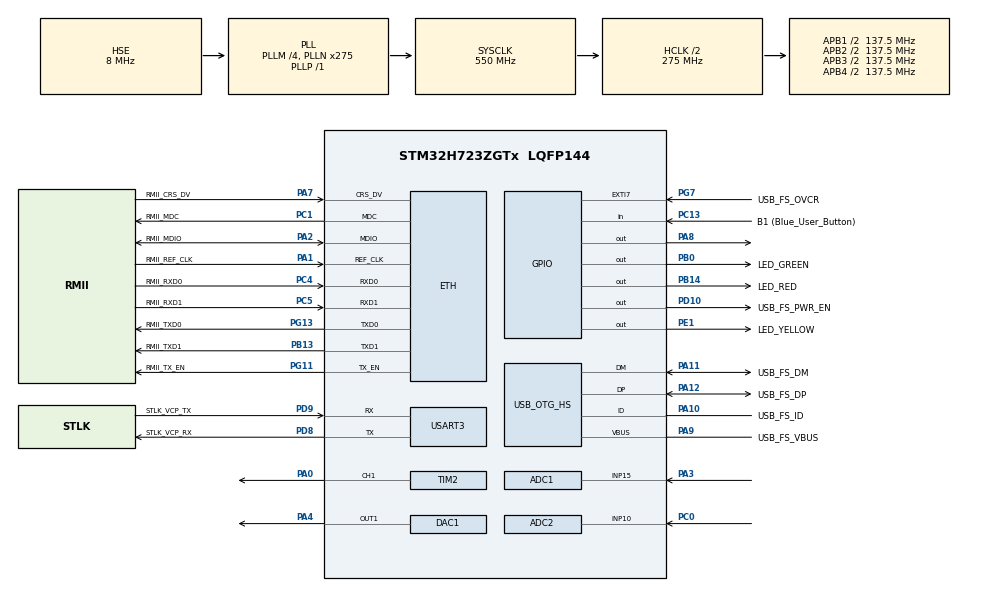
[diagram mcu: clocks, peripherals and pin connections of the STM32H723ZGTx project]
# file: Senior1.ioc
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ADC1.Channel-1\#ChannelRegularConversion=ADC_CHANNEL_15
ADC1.ContinuousConvMode=DISABLE
ADC1.NbrOfConversionFlag=1
ADC1.OffsetNumber-1\#ChannelRegularConversion=ADC_OFFSET_NONE
ADC1.OffsetSignedSaturation-1\#ChannelRegularConversion=DISABLE
ADC1.Rank-1\#ChannelRegularConversion=1
ADC1.SamplingTime-1\#ChannelRegularConversion=ADC_SAMPLETIME_1CYCLE_5
ADC1.master=1
ADC2.Channel-3\#ChannelRegularConversion=ADC_CHANNEL_10
ADC2.NbrOfConversionFlag=1
ADC2.OffsetNumber-3\#ChannelRegularConversion=ADC_OFFSET_NONE
ADC2.OffsetSignedSaturation-3\#ChannelRegularConversion=DISABLE
ADC2.Rank-3\#ChannelRegularConversion=1
ADC2.SamplingTime-3\#ChannelRegularConversion=ADC_SAMPLETIME_1CYCLE_5
DAC1.DAC_Channel-DAC_OUT1_ExtAndInt=DAC_CHANNEL_1
ETH.MediaInterface=HAL_ETH_RMII_MODE
Mcu.Family=STM32H7
Mcu.Name=STM32H723ZGTx
Mcu.Package=LQFP144
NVIC.PriorityGroup=NVIC_PRIORITYGROUP_4
PA0.Signal=S_TIM2_CH1_ETR
PA1.GPIO_Label=RMII_REF_CLK
PA1.Mode=RMII
PA1.Signal=ETH_REF_CLK
PA10.GPIO_Label=USB_FS_ID
PA10.Mode=OTG/Dual-Role-Device-FS
PA10.Signal=USB_OTG_HS_ID
PA11.GPIO_Label=USB_FS_DM
PA11.Mode=OTG/Dual-Role-Device-FS
PA11.Signal=USB_OTG_HS_DM
PA12.GPIO_Label=USB_FS_DP
PA12.Mode=OTG/Dual-Role-Device-FS
PA12.Signal=USB_OTG_HS_DP
PA13(JTMS/SWDIO).GPIO_Label=SWDIO
PA13(JTMS/SWDIO).Mode=Trace_Asynchronous_SW
PA13(JTMS/SWDIO).Signal=DEBUG_JTMS-SWDIO
PA14(JTCK/SWCLK).GPIO_Label=SWCLK
PA14(JTCK/SWCLK).Mode=Trace_Asynchronous_SW
PA14(JTCK/SWCLK).Signal=DEBUG_JTCK-SWCLK
PA2.GPIO_Label=RMII_MDIO
PA2.Mode=RMII
PA2.Signal=ETH_MDIO
PA3.Signal=ADCx_INP15
PA4.Signal=COMP_DAC11_group
PA7.GPIO_Label=RMII_CRS_DV
PA7.Mode=RMII
PA7.Signal=ETH_CRS_DV
PA8.Signal=GPIO_Output
PA9.GPIO_Label=USB_FS_VBUS
PA9.Mode=Activate_VBUS_FS
PA9.Signal=USB_OTG_HS_VBUS
PB0.GPIO_Label=LED_GREEN
PB0.Signal=GPIO_Output
PB13.GPIO_Label=RMII_TXD1
PB13.Mode=RMII
PB13.Signal=ETH_TXD1
PB14.GPIO_Label=LED_RED
PB14.Signal=GPIO_Output
PB3(JTDO/TRACESWO).GPIO_Label=SWO
PB3(JTDO/TRACESWO).Mode=Trace_Asynchronous_SW
PB3(JTDO/TRACESWO).Signal=DEBUG_JTDO-SWO
PC0.Signal=ADCx_INP10
PC1.GPIO_Label=RMII_MDC
PC1.Mode=RMII
PC1.Signal=ETH_MDC
PC13.GPIO_Label=B1 (Blue_User_Button)
PC13.Signal=GPIO_Input
PC14-OSC32_IN.Mode=LSE-External-Oscillator
PC14-OSC32_IN.Signal=RCC_OSC32_IN
PC15-OSC32_OUT.Mode=LSE-External-Oscillator
PC15-OSC32_OUT.Signal=RCC_OSC32_OUT
PC4.GPIO_Label=RMII_RXD0
PC4.Mode=RMII
PC4.Signal=ETH_RXD0
PC5.GPIO_Label=RMII_RXD1
PC5.Mode=RMII
PC5.Signal=ETH_RXD1
PD10.GPIO_Label=USB_FS_PWR_EN
PD10.Signal=GPIO_Output
PD8.GPIO_Label=STLK_VCP_RX
PD8.Mode=Asynchronous
PD8.Signal=USART3_TX
PD9.GPIO_Label=STLK_VCP_TX
PD9.Mode=Asynchronous
PD9.Signal=USART3_RX
PE1.GPIO_Label=LED_YELLOW
PE1.Signal=GPIO_Output
PG11.GPIO_Label=RMII_TX_EN
PG11.Mode=RMII
PG11.Signal=ETH_TX_EN
PG13.GPIO_Label=RMII_TXD0
PG13.Mode=RMII
PG13.Signal=ETH_TXD0
PG7.GPIO_Label=USB_FS_OVCR
PG7.Signal=GPXTI7
PH0-OSC_IN.GPIO_Label=MCO
PH0-OSC_IN.Mode=HSE-External-Clock-Source
PH0-OSC_IN.Signal=RCC_OSC_IN
PH1-OSC_OUT.Signal=RCC_OSC_OUT
ProjectManager.HeapSize=0x200
ProjectManager.StackSize=0x400
ProjectManager.TargetToolchain=STM32CubeIDE
RCC.ADCFreq_Value=96000000
RCC.APB1Freq_Value=137500000
RCC.APB2Freq_Value=137500000
RCC.APB3Freq_Value=137500000
RCC.APB4Freq_Value=137500000
RCC.CortexFreq_Value=550000000
RCC.D1PPRE=RCC_APB3_DIV2
RCC.D2PPRE1=RCC_APB1_DIV2
RCC.D2PPRE2=RCC_APB2_DIV2
RCC.D3PPRE=RCC_APB4_DIV2
RCC.DIVM1=4
RCC.DIVM2=1
RCC.DIVN1=275
RCC.DIVN2=24
RCC.DIVP1=1
RCC.DIVQ1=4
RCC.HCLKFreq_Value=275000000
RCC.HPRE=RCC_HCLK_DIV2
RCC.HSE_VALUE=8000000
RCC.PLL1_VCI_Range-AdvancedSettings=RCC_PLL1VCIRANGE_1
RCC.PLL3_VCO_SEL-AdvancedSettings=RCC_PLL3VCOMEDIUM
RCC.PLLFRACN=0
RCC.PLLSourceVirtual=RCC_PLLSOURCE_HSE
RCC.SYSCLKFreq_VALUE=550000000
RCC.SYSCLKSource=RCC_SYSCLKSOURCE_PLLCLK
RCC.USBCLockSelection=RCC_USBCLKSOURCE_HSI48
RCC.USBFreq_Value=48000000
SH.ADCx_INP10.0=ADC2_INP10,IN10-Single-Ended
SH.ADCx_INP15.0=ADC1_INP15,IN15-Single-Ended
SH.COMP_DAC11_group.0=DAC1_OUT1,DAC_OUT1_ExtAndInt
SH.S_TIM2_CH1_ETR.0=TIM2_CH1,PWM Generation1 CH1
TIM2.AutoReloadPreload=TIM_AUTORELOAD_PRELOAD_ENABLE
TIM2.Channel-PWM\ Generation1\ CH1=TIM_CHANNEL_1
TIM2.Period=65535
USART3.VirtualMode-Asynchronous=VM_ASYNC
VP_TIM2_VS_ClockSourceINT.Mode=Internal
board=NUCLEO-H723ZG

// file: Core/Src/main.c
/* USER CODE BEGIN Header */
/**
  ******************************************************************************
  * @file           : main.c
  * @brief          : Main program body
  ******************************************************************************
  * @attention
  *
  * <h2><center>&copy; Copyright (c) 2019 STMicroelectronics.
  * All rights reserved.</center></h2>
  *
  * This software component is licensed by ST under BSD 3-Clause license,
  * the "License"; You may not use this file except in compliance with the
  * License. You may obtain a copy of the License at:
  *                        opensource.org/licenses/BSD-3-Clause
  *
  * Code from https://deepbluembedded.com/stm32-adc-read-example-dma-interrupt-polling/
  *
  ******************************************************************************
  */
/* USER CODE END Header */
#include "main.h"
#include "string.h"

/* USER CODE BEGIN Includes */
#include <string.h>
#include <stdio.h>
/* USER CODE END Includes */

#if defined ( __ICCARM__ ) /*!< IAR Compiler */

#pragma location=0x30000000
ETH_DMADescTypeDef  DMARxDscrTab[ETH_RX_DESC_CNT]; /* Ethernet Rx DMA Descriptors */
#pragma location=0x30000060
ETH_DMADescTypeDef  DMATxDscrTab[ETH_TX_DESC_CNT]; /* Ethernet Tx DMA Descriptors */
#pragma location=0x300000c0
uint8_t Rx_Buff[ETH_RX_DESC_CNT][ETH_MAX_PACKET_SIZE]; /* Ethernet Receive Buffers */

#elif defined ( __CC_ARM )  /* MDK ARM Compiler */

__attribute__((at(0x30000000))) ETH_DMADescTypeDef  DMARxDscrTab[ETH_RX_DESC_CNT]; /* Ethernet Rx DMA Descriptors */
__attribute__((at(0x30000060))) ETH_DMADescTypeDef  DMATxDscrTab[ETH_TX_DESC_CNT]; /* Ethernet Tx DMA Descriptors */
__attribute__((at(0x300000c0))) uint8_t Rx_Buff[ETH_RX_DESC_CNT][ETH_MAX_PACKET_SIZE]; /* Ethernet Receive Buffer */

#elif defined ( __GNUC__ ) /* GNU Compiler */

ETH_DMADescTypeDef DMARxDscrTab[ETH_RX_DESC_CNT] __attribute__((section(".RxDecripSection"))); /* Ethernet Rx DMA Descriptors */
ETH_DMADescTypeDef DMATxDscrTab[ETH_TX_DESC_CNT] __attribute__((section(".TxDecripSection")));   /* Ethernet Tx DMA Descriptors */
uint8_t Rx_Buff[ETH_RX_DESC_CNT][ETH_MAX_PACKET_SIZE] __attribute__((section(".RxArraySection"))); /* Ethernet Receive Buffers */

#endif

ETH_TxPacketConfig TxConfig;
ADC_HandleTypeDef hadc1;
ADC_HandleTypeDef hadc2;

DAC_HandleTypeDef hdac1;

ETH_HandleTypeDef heth;

TIM_HandleTypeDef htim2;

UART_HandleTypeDef huart3;

/* USER CODE BEGIN PV */
uint16_t AD_RES = 0;

/* USER CODE END PV */

void SystemClock_Config(void);
void PeriphCommonClock_Config(void);
static void MX_GPIO_Init(void);
static void MX_ETH_Init(void);
static void MX_USART3_UART_Init(void);
static void MX_USB_OTG_HS_USB_Init(void);
static void MX_ADC1_Init(void);
static void MX_TIM2_Init(void);
static void MX_DAC1_Init(void);
static void MX_ADC2_Init(void);

int main(void)
{
  /* USER CODE BEGIN 1 */
   char msg[10];
   uint32_t val_dac = 500;
   uint16_t adc_val = 0;
   uint16_t adc2_val = 0;
   double volt;
   double volt2;
  /* USER CODE END 1 */

  /* MCU Configuration--------------------------------------------------------*/

  /* Reset of all peripherals, Initializes the Flash interface and the Systick. */
  HAL_Init();

  /* Configure the system clock */
  SystemClock_Config();

/* Configure the peripherals common clocks */
  PeriphCommonClock_Config();

  /* Initialize all configured peripherals */
  MX_GPIO_Init();
  MX_ETH_Init();
  MX_USART3_UART_Init();
  MX_USB_OTG_HS_USB_Init();
  MX_ADC1_Init();
  MX_TIM2_Init();
  MX_DAC1_Init();
  MX_ADC2_Init();
  /* USER CODE BEGIN 2 */
  HAL_TIM_PWM_Start(&htim2, TIM_CHANNEL_1);

  //Start DAC
 // HAL_DAC_Start(&hdac1,DAC_CHANNEL_1);
 // HAL_DAC_SetValue(&hdac1, DAC_CHANNEL_1, DAC_ALIGN_12B_R, val_dac);
  HAL_ADC_Start_DMA(&hadc1,(uint32_t*)&adc_val, 10);

  /* USER CODE END 2 */

  /* Infinite loop */
  /* USER CODE BEGIN WHILE */
  while (1)
  {
	  /*
	  // Set DAC Value to increment
	  HAL_DAC_SetValue(&hdac1, DAC_CHANNEL_1, DAC_ALIGN_12B_R, val_dac);
	  	  val_dac++;
	  	  if(val_dac>4095)
	  	  {
	  		  val_dac=0;
	  	  }
	  	  HAL_Delay(10);
*/
    // Test: Set GPIO pin high
    HAL_GPIO_WritePin(GPIOA, GPIO_PIN_8, GPIO_PIN_SET);

    // Get ADC values
    HAL_ADC_Start(&hadc1);
   // HAL_ADC_Start(&hadc2);
    HAL_ADC_PollForConversion(&hadc1,100);
   // HAL_ADC_PollForConversion(&hadc2,100);
    adc_val = HAL_ADC_GetValue(&hadc1);
   // adc2_val = HAL_ADC_GetValue(&hadc2);
    TIM2->CCR1 = (adc_val<<4);
  //  TIM2->CCR2 = (adc2_val<<4);
    HAL_Delay(100);

    // Convert to voltage (double)
    volt = ((double)adc_val/65535)*3.3;
   // volt2 = ((double)adc2_val/65535)*3.3;

    // Test: Set GPIO pin low
    HAL_GPIO_WritePin(GPIOA, GPIO_PIN_8, GPIO_PIN_RESET);

    // Convert to string and print
    //sprintf(msg, "ADC1: %0.4f\r\n ADC2: %0.4f\r\n\n ", volt, volt2);
    sprintf(msg, "ADC1: %0.4f\r\n", volt);

    HAL_UART_Transmit(&huart3, (uint8_t*)msg, strlen(msg), HAL_MAX_DELAY);

    // Pretend we have to do something else for a while
    HAL_Delay(1);

    /* USER CODE END WHILE */

  }
}

void SystemClock_Config(void)
{
  RCC_OscInitTypeDef RCC_OscInitStruct = {0};
  RCC_ClkInitTypeDef RCC_ClkInitStruct = {0};

  /** Supply configuration update enable
  */
  HAL_PWREx_ConfigSupply(PWR_LDO_SUPPLY);
  /** Configure the main internal regulator output voltage
  */
  __HAL_PWR_VOLTAGESCALING_CONFIG(PWR_REGULATOR_VOLTAGE_SCALE0);

  while(!__HAL_PWR_GET_FLAG(PWR_FLAG_VOSRDY)) {}
  /** Macro to configure the PLL clock source
  */
  __HAL_RCC_PLL_PLLSOURCE_CONFIG(RCC_PLLSOURCE_HSE);
  /** Initializes the RCC Oscillators according to the specified parameters
  * in the RCC_OscInitTypeDef structure.
  */
  RCC_OscInitStruct.OscillatorType = RCC_OSCILLATORTYPE_HSI48|RCC_OSCILLATORTYPE_HSE;
  RCC_OscInitStruct.HSEState = RCC_HSE_BYPASS;
  RCC_OscInitStruct.HSI48State = RCC_HSI48_ON;
  RCC_OscInitStruct.PLL.PLLState = RCC_PLL_ON;
  RCC_OscInitStruct.PLL.PLLSource = RCC_PLLSOURCE_HSE;
  RCC_OscInitStruct.PLL.PLLM = 4;
  RCC_OscInitStruct.PLL.PLLN = 275;
  RCC_OscInitStruct.PLL.PLLP = 1;
  RCC_OscInitStruct.PLL.PLLQ = 4;
  RCC_OscInitStruct.PLL.PLLR = 2;
  RCC_OscInitStruct.PLL.PLLRGE = RCC_PLL1VCIRANGE_1;
  RCC_OscInitStruct.PLL.PLLVCOSEL = RCC_PLL1VCOWIDE;
  RCC_OscInitStruct.PLL.PLLFRACN = 0;
  if (HAL_RCC_OscConfig(&RCC_OscInitStruct) != HAL_OK)
  {
    Error_Handler();
  }
  /** Initializes the CPU, AHB and APB buses clocks
  */
  RCC_ClkInitStruct.ClockType = RCC_CLOCKTYPE_HCLK|RCC_CLOCKTYPE_SYSCLK
                              |RCC_CLOCKTYPE_PCLK1|RCC_CLOCKTYPE_PCLK2
                              |RCC_CLOCKTYPE_D3PCLK1|RCC_CLOCKTYPE_D1PCLK1;
  RCC_ClkInitStruct.SYSCLKSource = RCC_SYSCLKSOURCE_PLLCLK;
  RCC_ClkInitStruct.SYSCLKDivider = RCC_SYSCLK_DIV1;
  RCC_ClkInitStruct.AHBCLKDivider = RCC_HCLK_DIV2;
  RCC_ClkInitStruct.APB3CLKDivider = RCC_APB3_DIV2;
  RCC_ClkInitStruct.APB1CLKDivider = RCC_APB1_DIV2;
  RCC_ClkInitStruct.APB2CLKDivider = RCC_APB2_DIV2;
  RCC_ClkInitStruct.APB4CLKDivider = RCC_APB4_DIV2;

  if (HAL_RCC_ClockConfig(&RCC_ClkInitStruct, FLASH_LATENCY_3) != HAL_OK)
  {
    Error_Handler();
  }
}

void PeriphCommonClock_Config(void)
{
  RCC_PeriphCLKInitTypeDef PeriphClkInitStruct = {0};

  /** Initializes the peripherals clock
  */
  PeriphClkInitStruct.PeriphClockSelection = RCC_PERIPHCLK_ADC;
  PeriphClkInitStruct.PLL2.PLL2M = 1;
  PeriphClkInitStruct.PLL2.PLL2N = 24;
  PeriphClkInitStruct.PLL2.PLL2P = 2;
  PeriphClkInitStruct.PLL2.PLL2Q = 2;
  PeriphClkInitStruct.PLL2.PLL2R = 2;
  PeriphClkInitStruct.PLL2.PLL2RGE = RCC_PLL2VCIRANGE_3;
  PeriphClkInitStruct.PLL2.PLL2VCOSEL = RCC_PLL2VCOWIDE;
  PeriphClkInitStruct.PLL2.PLL2FRACN = 0;
  PeriphClkInitStruct.AdcClockSelection = RCC_ADCCLKSOURCE_PLL2;
  if (HAL_RCCEx_PeriphCLKConfig(&PeriphClkInitStruct) != HAL_OK)
  {
    Error_Handler();
  }
}

static void MX_ADC1_Init(void)
{

  ADC_MultiModeTypeDef multimode = {0};
  ADC_ChannelConfTypeDef sConfig = {0};

  /** Common config
  */
  hadc1.Instance = ADC1;
  hadc1.Init.ClockPrescaler = ADC_CLOCK_ASYNC_DIV1;
  hadc1.Init.Resolution = ADC_RESOLUTION_16B;
  hadc1.Init.ScanConvMode = ADC_SCAN_DISABLE;
  hadc1.Init.EOCSelection = ADC_EOC_SINGLE_CONV;
  hadc1.Init.LowPowerAutoWait = DISABLE;
  hadc1.Init.ContinuousConvMode = DISABLE;
  hadc1.Init.NbrOfConversion = 1;
  hadc1.Init.DiscontinuousConvMode = DISABLE;
  hadc1.Init.ExternalTrigConv = ADC_SOFTWARE_START;
  hadc1.Init.ExternalTrigConvEdge = ADC_EXTERNALTRIGCONVEDGE_NONE;
  hadc1.Init.ConversionDataManagement = ADC_CONVERSIONDATA_DR;
  hadc1.Init.Overrun = ADC_OVR_DATA_PRESERVED;
  hadc1.Init.LeftBitShift = ADC_LEFTBITSHIFT_NONE;
  hadc1.Init.OversamplingMode = DISABLE;
  if (HAL_ADC_Init(&hadc1) != HAL_OK)
  {
    Error_Handler();
  }
  /** Configure the ADC multi-mode
  */
  multimode.Mode = ADC_MODE_INDEPENDENT;
  if (HAL_ADCEx_MultiModeConfigChannel(&hadc1, &multimode) != HAL_OK)
  {
    Error_Handler();
  }
  /** Configure Regular Channel
  */
  sConfig.Channel = ADC_CHANNEL_15;
  sConfig.Rank = ADC_REGULAR_RANK_1;
  sConfig.SamplingTime = ADC_SAMPLETIME_1CYCLE_5;
  sConfig.SingleDiff = ADC_SINGLE_ENDED;
  sConfig.OffsetNumber = ADC_OFFSET_NONE;
  sConfig.Offset = 0;
  sConfig.OffsetSignedSaturation = DISABLE;
  if (HAL_ADC_ConfigChannel(&hadc1, &sConfig) != HAL_OK)
  {
    Error_Handler();
  }

}

static void MX_ADC2_Init(void)
{

  ADC_ChannelConfTypeDef sConfig = {0};

  /** Common config
  */
  hadc2.Instance = ADC2;
  hadc2.Init.ClockPrescaler = ADC_CLOCK_ASYNC_DIV1;
  hadc2.Init.Resolution = ADC_RESOLUTION_16B;
  hadc2.Init.ScanConvMode = ADC_SCAN_DISABLE;
  hadc2.Init.EOCSelection = ADC_EOC_SINGLE_CONV;
  hadc2.Init.LowPowerAutoWait = DISABLE;
  hadc2.Init.ContinuousConvMode = DISABLE;
  hadc2.Init.NbrOfConversion = 1;
  hadc2.Init.DiscontinuousConvMode = DISABLE;
  hadc2.Init.ExternalTrigConv = ADC_SOFTWARE_START;
  hadc2.Init.ExternalTrigConvEdge = ADC_EXTERNALTRIGCONVEDGE_NONE;
  hadc2.Init.ConversionDataManagement = ADC_CONVERSIONDATA_DR;
  hadc2.Init.Overrun = ADC_OVR_DATA_PRESERVED;
  hadc2.Init.LeftBitShift = ADC_LEFTBITSHIFT_NONE;
  hadc2.Init.OversamplingMode = DISABLE;
  if (HAL_ADC_Init(&hadc2) != HAL_OK)
  {
    Error_Handler();
  }
  /** Configure Regular Channel
  */
  sConfig.Channel = ADC_CHANNEL_10;
  sConfig.Rank = ADC_REGULAR_RANK_1;
  sConfig.SamplingTime = ADC_SAMPLETIME_1CYCLE_5;
  sConfig.SingleDiff = ADC_SINGLE_ENDED;
  sConfig.OffsetNumber = ADC_OFFSET_NONE;
  sConfig.Offset = 0;
  sConfig.OffsetSignedSaturation = DISABLE;
  if (HAL_ADC_ConfigChannel(&hadc2, &sConfig) != HAL_OK)
  {
    Error_Handler();
  }

}

static void MX_DAC1_Init(void)
{

  DAC_ChannelConfTypeDef sConfig = {0};

  /** DAC Initialization
  */
  hdac1.Instance = DAC1;
  if (HAL_DAC_Init(&hdac1) != HAL_OK)
  {
    Error_Handler();
  }
  /** DAC channel OUT1 config
  */
  sConfig.DAC_SampleAndHold = DAC_SAMPLEANDHOLD_DISABLE;
  sConfig.DAC_Trigger = DAC_TRIGGER_NONE;
  sConfig.DAC_OutputBuffer = DAC_OUTPUTBUFFER_ENABLE;
  sConfig.DAC_ConnectOnChipPeripheral = DAC_CHIPCONNECT_ENABLE;
  sConfig.DAC_UserTrimming = DAC_TRIMMING_FACTORY;
  if (HAL_DAC_ConfigChannel(&hdac1, &sConfig, DAC_CHANNEL_1) != HAL_OK)
  {
    Error_Handler();
  }

}

static void MX_ETH_Init(void)
{

   static uint8_t MACAddr[6];

  heth.Instance = ETH;
  MACAddr[0] = 0x00;
  MACAddr[1] = 0x80;
  MACAddr[2] = 0xE1;
  MACAddr[3] = 0x00;
  MACAddr[4] = 0x00;
  MACAddr[5] = 0x00;
  heth.Init.MACAddr = &MACAddr[0];
  heth.Init.MediaInterface = HAL_ETH_RMII_MODE;
  heth.Init.TxDesc = DMATxDscrTab;
  heth.Init.RxDesc = DMARxDscrTab;
  heth.Init.RxBuffLen = 1524;

  if (HAL_ETH_Init(&heth) != HAL_OK)
  {
    Error_Handler();
  }

  memset(&TxConfig, 0 , sizeof(ETH_TxPacketConfig));
  TxConfig.Attributes = ETH_TX_PACKETS_FEATURES_CSUM | ETH_TX_PACKETS_FEATURES_CRCPAD;
  TxConfig.ChecksumCtrl = ETH_CHECKSUM_IPHDR_PAYLOAD_INSERT_PHDR_CALC;
  TxConfig.CRCPadCtrl = ETH_CRC_PAD_INSERT;

}

static void MX_TIM2_Init(void)
{

  TIM_ClockConfigTypeDef sClockSourceConfig = {0};
  TIM_MasterConfigTypeDef sMasterConfig = {0};
  TIM_OC_InitTypeDef sConfigOC = {0};

  htim2.Instance = TIM2;
  htim2.Init.Prescaler = 0;
  htim2.Init.CounterMode = TIM_COUNTERMODE_UP;
  htim2.Init.Period = 65535;
  htim2.Init.ClockDivision = TIM_CLOCKDIVISION_DIV1;
  htim2.Init.AutoReloadPreload = TIM_AUTORELOAD_PRELOAD_ENABLE;
  if (HAL_TIM_Base_Init(&htim2) != HAL_OK)
  {
    Error_Handler();
  }
  sClockSourceConfig.ClockSource = TIM_CLOCKSOURCE_INTERNAL;
  if (HAL_TIM_ConfigClockSource(&htim2, &sClockSourceConfig) != HAL_OK)
  {
    Error_Handler();
  }
  if (HAL_TIM_PWM_Init(&htim2) != HAL_OK)
  {
    Error_Handler();
  }
  sMasterConfig.MasterOutputTrigger = TIM_TRGO_RESET;
  sMasterConfig.MasterSlaveMode = TIM_MASTERSLAVEMODE_DISABLE;
  if (HAL_TIMEx_MasterConfigSynchronization(&htim2, &sMasterConfig) != HAL_OK)
  {
    Error_Handler();
  }
  sConfigOC.OCMode = TIM_OCMODE_PWM1;
  sConfigOC.Pulse = 0;
  sConfigOC.OCPolarity = TIM_OCPOLARITY_HIGH;
  sConfigOC.OCFastMode = TIM_OCFAST_DISABLE;
  if (HAL_TIM_PWM_ConfigChannel(&htim2, &sConfigOC, TIM_CHANNEL_1) != HAL_OK)
  {
    Error_Handler();
  }
  HAL_TIM_MspPostInit(&htim2);

}

static void MX_USART3_UART_Init(void)
{

  huart3.Instance = USART3;
  huart3.Init.BaudRate = 115200;
  huart3.Init.WordLength = UART_WORDLENGTH_8B;
  huart3.Init.StopBits = UART_STOPBITS_1;
  huart3.Init.Parity = UART_PARITY_NONE;
  huart3.Init.Mode = UART_MODE_TX_RX;
  huart3.Init.HwFlowCtl = UART_HWCONTROL_NONE;
  huart3.Init.OverSampling = UART_OVERSAMPLING_16;
  huart3.Init.OneBitSampling = UART_ONE_BIT_SAMPLE_DISABLE;
  huart3.Init.ClockPrescaler = UART_PRESCALER_DIV1;
  huart3.AdvancedInit.AdvFeatureInit = UART_ADVFEATURE_NO_INIT;
  if (HAL_UART_Init(&huart3) != HAL_OK)
  {
    Error_Handler();
  }
  if (HAL_UARTEx_SetTxFifoThreshold(&huart3, UART_TXFIFO_THRESHOLD_1_8) != HAL_OK)
  {
    Error_Handler();
  }
  if (HAL_UARTEx_SetRxFifoThreshold(&huart3, UART_RXFIFO_THRESHOLD_1_8) != HAL_OK)
  {
    Error_Handler();
  }
  if (HAL_UARTEx_DisableFifoMode(&huart3) != HAL_OK)
  {
    Error_Handler();
  }

}

static void MX_USB_OTG_HS_USB_Init(void)
{

}

static void MX_GPIO_Init(void)
{
  GPIO_InitTypeDef GPIO_InitStruct = {0};

  /* GPIO Ports Clock Enable */
  __HAL_RCC_GPIOC_CLK_ENABLE();
  __HAL_RCC_GPIOH_CLK_ENABLE();
  __HAL_RCC_GPIOA_CLK_ENABLE();
  __HAL_RCC_GPIOB_CLK_ENABLE();
  __HAL_RCC_GPIOD_CLK_ENABLE();
  __HAL_RCC_GPIOG_CLK_ENABLE();
  __HAL_RCC_GPIOE_CLK_ENABLE();

  /*Configure GPIO pin Output Level */
  HAL_GPIO_WritePin(GPIOB, LED_GREEN_Pin|LED_RED_Pin, GPIO_PIN_RESET);

  /*Configure GPIO pin Output Level */
  HAL_GPIO_WritePin(USB_FS_PWR_EN_GPIO_Port, USB_FS_PWR_EN_Pin, GPIO_PIN_RESET);

  /*Configure GPIO pin Output Level */
  HAL_GPIO_WritePin(GPIOA, GPIO_PIN_8, GPIO_PIN_RESET);

  /*Configure GPIO pin Output Level */
  HAL_GPIO_WritePin(LED_YELLOW_GPIO_Port, LED_YELLOW_Pin, GPIO_PIN_RESET);

  /*Configure GPIO pin : B1_Pin */
  GPIO_InitStruct.Pin = B1_Pin;
  GPIO_InitStruct.Mode = GPIO_MODE_INPUT;
  GPIO_InitStruct.Pull = GPIO_NOPULL;
  HAL_GPIO_Init(B1_GPIO_Port, &GPIO_InitStruct);

  /*Configure GPIO pins : LED_GREEN_Pin LED_RED_Pin */
  GPIO_InitStruct.Pin = LED_GREEN_Pin|LED_RED_Pin;
  GPIO_InitStruct.Mode = GPIO_MODE_OUTPUT_PP;
  GPIO_InitStruct.Pull = GPIO_NOPULL;
  GPIO_InitStruct.Speed = GPIO_SPEED_FREQ_LOW;
  HAL_GPIO_Init(GPIOB, &GPIO_InitStruct);

  /*Configure GPIO pin : USB_FS_PWR_EN_Pin */
  GPIO_InitStruct.Pin = USB_FS_PWR_EN_Pin;
  GPIO_InitStruct.Mode = GPIO_MODE_OUTPUT_PP;
  GPIO_InitStruct.Pull = GPIO_NOPULL;
  GPIO_InitStruct.Speed = GPIO_SPEED_FREQ_LOW;
  HAL_GPIO_Init(USB_FS_PWR_EN_GPIO_Port, &GPIO_InitStruct);

  /*Configure GPIO pin : USB_FS_OVCR_Pin */
  GPIO_InitStruct.Pin = USB_FS_OVCR_Pin;
  GPIO_InitStruct.Mode = GPIO_MODE_IT_RISING;
  GPIO_InitStruct.Pull = GPIO_NOPULL;
  HAL_GPIO_Init(USB_FS_OVCR_GPIO_Port, &GPIO_InitStruct);

  /*Configure GPIO pin : PA8 */
  GPIO_InitStruct.Pin = GPIO_PIN_8;
  GPIO_InitStruct.Mode = GPIO_MODE_OUTPUT_PP;
  GPIO_InitStruct.Pull = GPIO_NOPULL;
  GPIO_InitStruct.Speed = GPIO_SPEED_FREQ_LOW;
  HAL_GPIO_Init(GPIOA, &GPIO_InitStruct);

  /*Configure GPIO pin : USB_FS_VBUS_Pin */
  GPIO_InitStruct.Pin = USB_FS_VBUS_Pin;
  GPIO_InitStruct.Mode = GPIO_MODE_INPUT;
  GPIO_InitStruct.Pull = GPIO_NOPULL;
  HAL_GPIO_Init(USB_FS_VBUS_GPIO_Port, &GPIO_InitStruct);

  /*Configure GPIO pin : USB_FS_ID_Pin */
  GPIO_InitStruct.Pin = USB_FS_ID_Pin;
  GPIO_InitStruct.Mode = GPIO_MODE_AF_PP;
  GPIO_InitStruct.Pull = GPIO_NOPULL;
  GPIO_InitStruct.Speed = GPIO_SPEED_FREQ_LOW;
  GPIO_InitStruct.Alternate = GPIO_AF10_OTG1_HS;
  HAL_GPIO_Init(USB_FS_ID_GPIO_Port, &GPIO_InitStruct);

  /*Configure GPIO pin : LED_YELLOW_Pin */
  GPIO_InitStruct.Pin = LED_YELLOW_Pin;
  GPIO_InitStruct.Mode = GPIO_MODE_OUTPUT_PP;
  GPIO_InitStruct.Pull = GPIO_NOPULL;
  GPIO_InitStruct.Speed = GPIO_SPEED_FREQ_LOW;
  HAL_GPIO_Init(LED_YELLOW_GPIO_Port, &GPIO_InitStruct);

}

void Error_Handler(void)
{
  __disable_irq();
  while (1)
  {
  }
}
